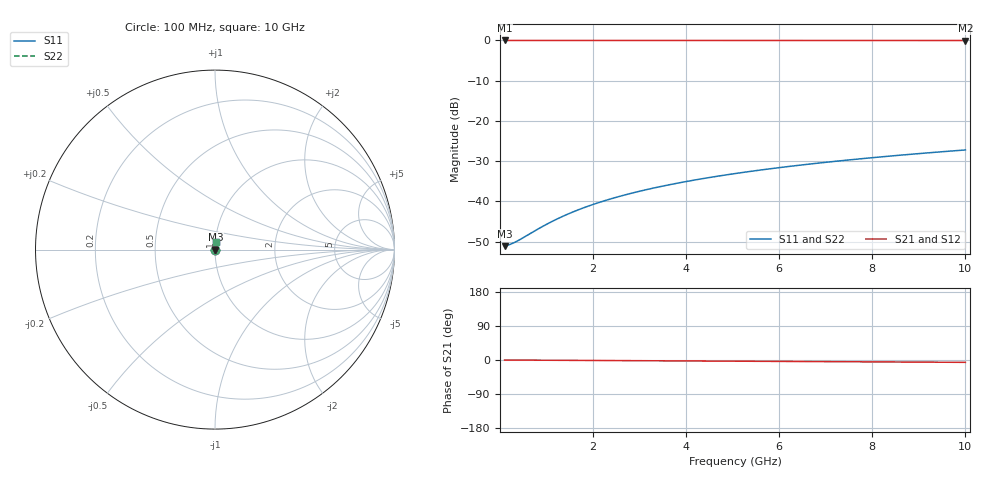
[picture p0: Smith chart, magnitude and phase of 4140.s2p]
# Hz S RI R 50.00
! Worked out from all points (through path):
!   100 points, 100 MHz to 10 GHz, reference 50 ohm
!   highest |S21| = -0.02 dB at 100 MHz (marker M1); lowest = 0.0 dB at 10 GHz (marker M2)
!   lowest |S11| = -51.1 dB at 100 MHz (marker M3), VSWR 1.01, Z = 50.3 + j0.0435 ohm
!   |S11| at or under -10 dB: start of sweep to end of sweep
!   |S22| runs from -51.1 to -27.2 dB; largest |S21 - S12| = 0
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1e8  0.00275 0.000433  0.9972 -0.00108  0.9972 -0.00108  0.00275 0.000433
2e8  0.00277 0.000866  0.9972 -0.00215  0.9972 -0.00215  0.00277 0.000866
3e8  0.00279 0.0013  0.9972 -0.00323  0.9972 -0.00323  0.00279 0.0013
4e8  0.0028 0.00173  0.9972 -0.0043  0.9972 -0.0043  0.0028 0.00173
9e8  0.00287 0.0039  0.9971 -0.00968  0.9971 -0.00968  0.00287 0.0039
1.2e9  0.00291 0.00519  0.997 -0.0129  0.997 -0.0129  0.00291 0.00519
1.5e9  0.00296 0.00649  0.997 -0.0161  0.997 -0.0161  0.00296 0.00649
1.8e9  0.00302 0.00779  0.9969 -0.0193  0.9969 -0.0193  0.00302 0.00779
2.1e9  0.00309 0.00909  0.9968 -0.0226  0.9968 -0.0226  0.00309 0.00909
2.5e9  0.00319 0.0108  0.9967 -0.0269  0.9967 -0.0269  0.00319 0.0108
2.9e9  0.0033 0.0125  0.9965 -0.0312  0.9965 -0.0312  0.0033 0.0125
3.4e9  0.00346 0.0147  0.9963 -0.0365  0.9963 -0.0365  0.00346 0.0147
3.8e9  0.0036 0.0164  0.9961 -0.0408  0.9961 -0.0408  0.0036 0.0164
4.2e9  0.00376 0.0181  0.9958 -0.0451  0.9958 -0.0451  0.00376 0.0181
4.6e9  0.00394 0.0199  0.9956 -0.0494  0.9956 -0.0494  0.00394 0.0199
5.1e9  0.00417 0.022  0.9953 -0.0548  0.9953 -0.0548  0.00417 0.022
5.9e9  0.0046 0.0255  0.9946 -0.0634  0.9946 -0.0634  0.0046 0.0255
6.7e9  0.00509 0.0289  0.9939 -0.0719  0.9939 -0.0719  0.00509 0.0289
7.5e9  0.00563 0.0323  0.9932 -0.0805  0.9932 -0.0805  0.00563 0.0323
8.4e9  0.00632 0.0361  0.9922 -0.0901  0.9922 -0.0901  0.00632 0.0361
9.2e9  0.00699 0.0395  0.9912 -0.0987  0.9912 -0.0987  0.00699 0.0395
1e10  0.00772 0.0429  0.9901 -0.1072  0.9901 -0.1072  0.00772 0.0429
